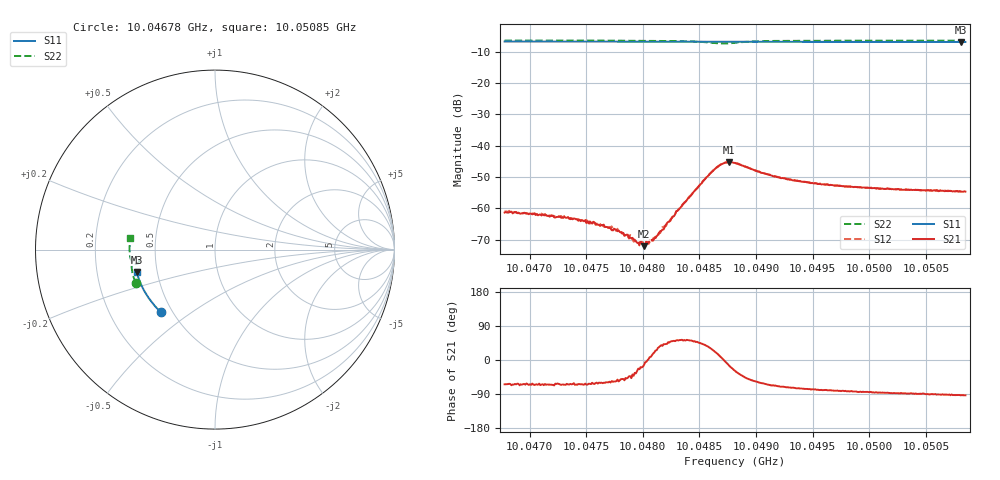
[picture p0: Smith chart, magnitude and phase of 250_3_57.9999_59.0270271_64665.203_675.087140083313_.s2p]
#  HZ  S  RI  R  50.00
! Rohde & Schwarz Vector Network Analyzer
! Rohde-Schwarz,ZNB20-2Port,1311601062101988,3.16
! Created: UTC 3/21/2024, 1:01:26 AM
! freq[Hz]  re:S11  im:S11  re:S21  im:S21  re:S12  im:S12  re:S22  im:S22
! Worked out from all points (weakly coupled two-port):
!   401 points, 10.04678 GHz to 10.05085 GHz, reference 50 ohm
!   highest |S21| = -45.25 dB at 10.04876 GHz (marker M1); lowest = -72.0 dB at 10.04801 GHz (marker M2)
!   lowest |S11| = -6.9 dB at 10.05081 GHz (marker M3), VSWR 2.66, Z = 19.1 - j6.01 ohm
!   |S11| at or under -10 dB: nowhere
!   |S22| runs from -7.4 to -6.4 dB; largest |S21 - S12| = 0.00037
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1.0046779e10  -0.3008 -0.349  0.000375 -0.000774  0.000467 -0.000757  -0.4422 -0.1852
1.0047298e10  -0.3252 -0.3249  0.000301 -0.000641  0.000371 -0.00063  -0.4538 -0.1515
1.0047461e10  -0.3327 -0.3169  0.000284 -0.000577  0.00033 -0.000566  -0.4569 -0.1406
1.0047553e10  -0.3366 -0.3122  0.000286 -0.000497  0.000321 -0.000491  -0.4584 -0.1345
1.0047726e10  -0.344 -0.3036  0.000255 -0.000371  0.000319 -0.000405  -0.4613 -0.1222
1.0047766e10  -0.3457 -0.3015  0.000255 -0.000379  0.000267 -0.000347  -0.4619 -0.1192
1.0047919e10  -0.3519 -0.2935  0.000239 -0.000211  0.000242 -0.00017  -0.4636 -0.1077
1.0047949e10  -0.3532 -0.292  0.000248 -0.000139  0.000269 -0.000143  -0.4639 -0.1053
1.004801e10  -0.3558 -0.2888  0.000243 -5.69e-05  0.000269 -9.9e-06  -0.4644 -0.1004
1.0048061e10  -0.3577 -0.2862  0.000311 4.22e-05  0.000288 4.1e-05  -0.4648 -0.0964
1.0048112e10  -0.3598 -0.2835  0.000305 0.000142  0.000315 0.00016  -0.465 -0.0922
1.0048143e10  -0.3609 -0.2819  0.000334 0.000226  0.000335 0.000236  -0.4651 -0.0896
1.0048336e10  -0.3682 -0.2713  0.000637 0.000834  0.000602 0.000884  -0.4632 -0.0714
1.004859e10  -0.3775 -0.2573  0.00298 0.00191  0.0029 0.00207  -0.4412 -0.0482
1.0048682e10  -0.3804 -0.2522  0.00486 0.000818  0.00484 0.00112  -0.4251 -0.0553
1.0048763e10  -0.3832 -0.2479  0.00527 -0.00144  0.00539 -0.00111  -0.4249 -0.0725
1.0048814e10  -0.3851 -0.245  0.00468 -0.00254  0.00485 -0.00224  -0.4328 -0.0791
1.004917e10  -0.3967 -0.225  0.00123 -0.00298  0.0014 -0.00294  -0.4684 -0.0554
1.0049496e10  -0.4066 -0.2057  0.000563 -0.0025  0.000711 -0.00247  -0.4745 -0.0281
1.0050178e10  -0.4238 -0.1643  0.000103 -0.00203  0.000209 -0.00206  -0.4758 0.0214
1.0050809e10  -0.436 -0.1248  -0.0001 -0.00186  1.93e-05 -0.00186  -0.4715 0.0639
1.0050849e10  -0.4368 -0.1222  -0.000105 -0.00185  -2.36e-05 -0.00187  -0.4714 0.0667
